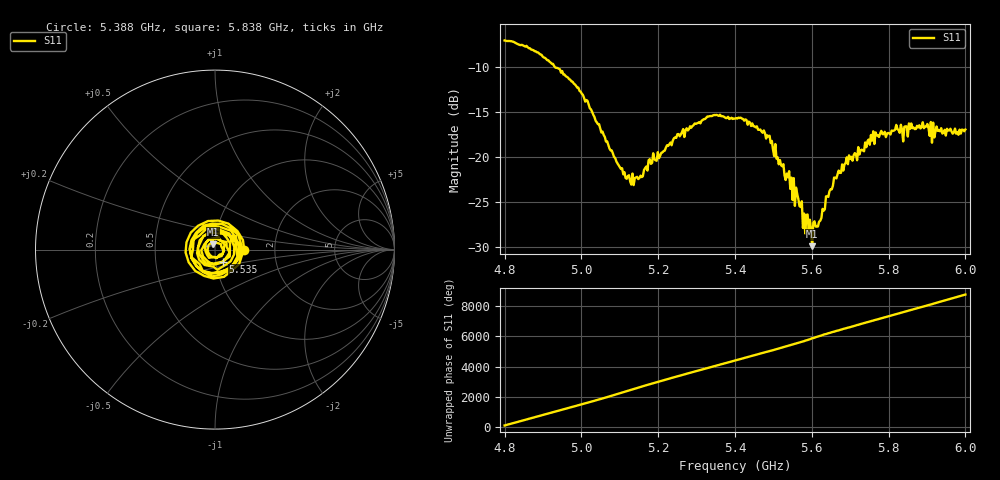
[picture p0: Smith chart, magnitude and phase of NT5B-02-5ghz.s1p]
! NanoVNA-App
! Date: 2026-05-25 01:52:31
! Start: 4.8GHz Stop: 6GHz Points: 401
! S-Parameter data: F S11
# Hz S RI R 50
!  Frequency  S11_Real  S11_Imag
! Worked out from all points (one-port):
!   401 points, 4.8 GHz to 6 GHz, reference 50 ohm
!   lowest |S11| = -29.9 dB at 5.601 GHz (marker M1), VSWR 1.07, Z = 48.7 + j2.86 ohm
!   |S11| at or under -10 dB: 4.93 GHz to end of sweep
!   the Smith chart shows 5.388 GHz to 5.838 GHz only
!   S11 on the Smith chart (normalised r, x): 5.388 GHz: 1.39, -0.01; 5.535 GHz: 1.09, -0.15; 5.838 GHz: 1.22, +0.16
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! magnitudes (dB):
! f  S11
! 4.8 GHz  -7.1
! 4.884 GHz  -8.4
! 4.95 GHz  -10.5
! 5.019 GHz  -14.2
! 5.1 GHz  -21.1
! 5.124 GHz  -22.0
! 5.154 GHz  -22.1
! 5.181 GHz  -20.8
! 5.199 GHz  -19.5
! 5.25 GHz  -17.5
! 5.331 GHz  -15.5
! 5.388 GHz  -15.8
! 5.4 GHz  -15.8
! 5.424 GHz  -16.0
! 5.49 GHz  -17.7
! 5.535 GHz  -21.9
! 5.547 GHz  -22.3
! 5.55 GHz  -24.8
! 5.568 GHz  -25.5
! 5.577 GHz  -27.9
! 5.601 GHz  -29.9
! 5.619 GHz  -27.2
! 5.664 GHz  -22.4
! 5.7 GHz  -20.2
! 5.76 GHz  -17.2
! 5.838 GHz  -18.3
! 5.85 GHz  -17.8
! 6 GHz  -17.0
